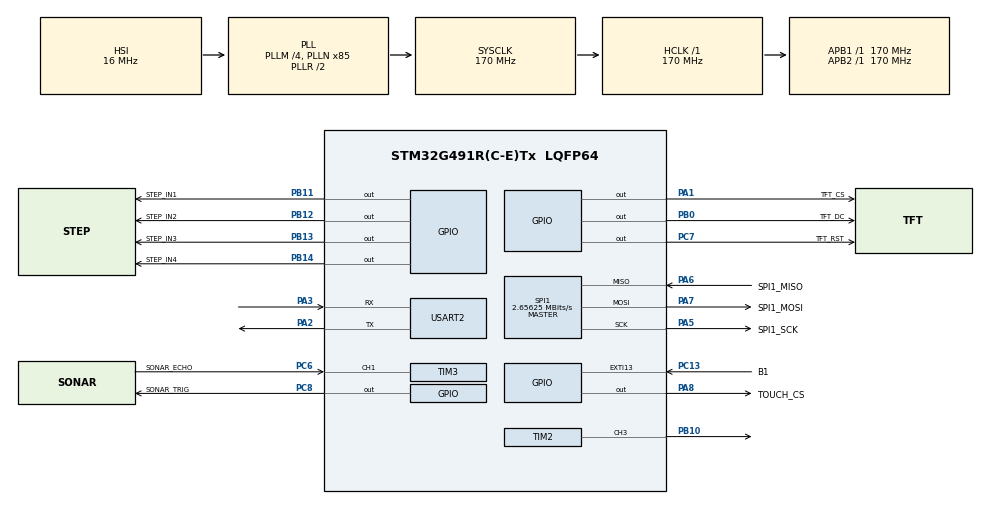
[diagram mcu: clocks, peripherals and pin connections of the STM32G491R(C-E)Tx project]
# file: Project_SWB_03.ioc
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Dma.Request0=USART2_RX
Dma.Request1=USART2_TX
Dma.Request2=SPI1_TX
Dma.SPI1_TX.2.Direction=DMA_MEMORY_TO_PERIPH
Dma.SPI1_TX.2.EventEnable=DISABLE
Dma.SPI1_TX.2.Instance=DMA1_Channel3
Dma.SPI1_TX.2.MemDataAlignment=DMA_MDATAALIGN_BYTE
Dma.SPI1_TX.2.MemInc=DMA_MINC_ENABLE
Dma.SPI1_TX.2.Mode=DMA_NORMAL
Dma.SPI1_TX.2.PeriphDataAlignment=DMA_PDATAALIGN_BYTE
Dma.SPI1_TX.2.PeriphInc=DMA_PINC_DISABLE
Dma.SPI1_TX.2.Polarity=HAL_DMAMUX_REQ_GEN_RISING
Dma.SPI1_TX.2.Priority=DMA_PRIORITY_LOW
Dma.SPI1_TX.2.RequestNumber=1
Dma.SPI1_TX.2.SignalID=NONE
Dma.SPI1_TX.2.SyncEnable=DISABLE
Dma.SPI1_TX.2.SyncPolarity=HAL_DMAMUX_SYNC_NO_EVENT
Dma.SPI1_TX.2.SyncRequestNumber=1
Dma.SPI1_TX.2.SyncSignalID=NONE
Dma.USART2_RX.0.Direction=DMA_PERIPH_TO_MEMORY
Dma.USART2_RX.0.EventEnable=DISABLE
Dma.USART2_RX.0.Instance=DMA1_Channel1
Dma.USART2_RX.0.MemDataAlignment=DMA_MDATAALIGN_BYTE
Dma.USART2_RX.0.MemInc=DMA_MINC_ENABLE
Dma.USART2_RX.0.Mode=DMA_CIRCULAR
Dma.USART2_RX.0.PeriphDataAlignment=DMA_PDATAALIGN_BYTE
Dma.USART2_RX.0.PeriphInc=DMA_PINC_DISABLE
Dma.USART2_RX.0.Polarity=HAL_DMAMUX_REQ_GEN_RISING
Dma.USART2_RX.0.Priority=DMA_PRIORITY_LOW
Dma.USART2_RX.0.RequestNumber=1
Dma.USART2_RX.0.SignalID=NONE
Dma.USART2_RX.0.SyncEnable=DISABLE
Dma.USART2_RX.0.SyncPolarity=HAL_DMAMUX_SYNC_NO_EVENT
Dma.USART2_RX.0.SyncRequestNumber=1
Dma.USART2_RX.0.SyncSignalID=NONE
Dma.USART2_TX.1.Direction=DMA_MEMORY_TO_PERIPH
Dma.USART2_TX.1.EventEnable=DISABLE
Dma.USART2_TX.1.Instance=DMA1_Channel2
Dma.USART2_TX.1.MemDataAlignment=DMA_MDATAALIGN_BYTE
Dma.USART2_TX.1.MemInc=DMA_MINC_ENABLE
Dma.USART2_TX.1.Mode=DMA_NORMAL
Dma.USART2_TX.1.PeriphDataAlignment=DMA_PDATAALIGN_BYTE
Dma.USART2_TX.1.PeriphInc=DMA_PINC_DISABLE
Dma.USART2_TX.1.Polarity=HAL_DMAMUX_REQ_GEN_RISING
Dma.USART2_TX.1.Priority=DMA_PRIORITY_LOW
Dma.USART2_TX.1.RequestNumber=1
Dma.USART2_TX.1.SignalID=NONE
Dma.USART2_TX.1.SyncEnable=DISABLE
Dma.USART2_TX.1.SyncPolarity=HAL_DMAMUX_SYNC_NO_EVENT
Dma.USART2_TX.1.SyncRequestNumber=1
Dma.USART2_TX.1.SyncSignalID=NONE
Mcu.Family=STM32G4
Mcu.Name=STM32G491R(C-E)Tx
Mcu.Package=LQFP64
NVIC.DMA1_Channel1_IRQn=true\:0\:0\:false\:false\:true\:false\:true\:true
NVIC.DMA1_Channel2_IRQn=true\:0\:0\:false\:false\:true\:false\:true\:true
NVIC.DMA1_Channel3_IRQn=true\:0\:0\:false\:false\:true\:false\:true\:true
NVIC.EXTI15_10_IRQn=true\:0\:0\:false\:false\:true\:true\:true\:true
NVIC.PriorityGroup=NVIC_PRIORITYGROUP_4
NVIC.TIM3_IRQn=true\:1\:0\:true\:false\:true\:true\:true\:true
NVIC.TIM7_IRQn=true\:0\:0\:true\:false\:true\:true\:true\:true
NVIC.USART2_IRQn=true\:0\:0\:false\:false\:true\:true\:true\:true
PA1.GPIO_Label=TFT_CS
PA1.PinState=GPIO_PIN_SET
PA1.Signal=GPIO_Output
PA13.GPIO_Label=T_SWDIO
PA13.Signal=SYS_JTMS-SWDIO
PA14.GPIO_Label=T_SWCLK
PA14.Signal=SYS_JTCK-SWCLK
PA2.Mode=Asynchronous
PA2.Signal=USART2_TX
PA3.Mode=Asynchronous
PA3.Signal=USART2_RX
PA5.GPIO_Label=SPI1_SCK
PA5.GPIO_Speed=GPIO_SPEED_FREQ_MEDIUM
PA5.Mode=Full_Duplex_Master
PA5.Signal=SPI1_SCK
PA6.GPIO_Label=SPI1_MISO
PA6.GPIO_Speed=GPIO_SPEED_FREQ_MEDIUM
PA6.Mode=Full_Duplex_Master
PA6.Signal=SPI1_MISO
PA7.GPIO_Label=SPI1_MOSI
PA7.GPIO_Speed=GPIO_SPEED_FREQ_MEDIUM
PA7.Mode=Full_Duplex_Master
PA7.Signal=SPI1_MOSI
PA8.GPIO_Label=TOUCH_CS
PA8.PinState=GPIO_PIN_SET
PA8.Signal=GPIO_Output
PB0.GPIO_Label=TFT_DC
PB0.Signal=GPIO_Output
PB10.Signal=S_TIM2_CH3
PB11.GPIO_Label=STEP_IN1
PB11.Signal=GPIO_Output
PB12.GPIO_Label=STEP_IN2
PB12.Signal=GPIO_Output
PB13.GPIO_Label=STEP_IN3
PB13.Signal=GPIO_Output
PB14.GPIO_Label=STEP_IN4
PB14.Signal=GPIO_Output
PB3.GPIO_Label=T_SWO
PB3.Signal=SYS_JTDO-SWO
PC13.GPIO_Label=B1
PC13.GPIO_PuPd=GPIO_PULLDOWN
PC13.Signal=GPXTI13
PC14-OSC32_IN.GPIO_Label=RCC_OSC32_IN
PC14-OSC32_IN.Signal=RCC_OSC32_IN
PC15-OSC32_OUT.GPIO_Label=RCC_OSC32_OUT
PC15-OSC32_OUT.Signal=RCC_OSC32_OUT
PC6.GPIO_Label=SONAR_ECHO
PC6.Signal=S_TIM3_CH1
PC7.GPIO_Label=TFT_RST
PC7.Signal=GPIO_Output
PC8.GPIO_Label=SONAR_TRIG
PC8.Signal=GPIO_Output
PF0-OSC_IN.GPIO_Label=RCC_OSC_IN
PF0-OSC_IN.Signal=RCC_OSC_IN
PF1-OSC_OUT.GPIO_Label=RCC_OSC_OUT
PF1-OSC_OUT.Signal=RCC_OSC_OUT
ProjectManager.HeapSize=0x200
ProjectManager.StackSize=0x400
ProjectManager.TargetToolchain=STM32CubeIDE
RCC.ADC12Freq_Value=170000000
RCC.ADC345Freq_Value=170000000
RCC.AHBFreq_Value=170000000
RCC.APB1Freq_Value=170000000
RCC.APB1TimFreq_Value=170000000
RCC.APB2Freq_Value=170000000
RCC.APB2TimFreq_Value=170000000
RCC.CortexFreq_Value=170000000
RCC.EXTERNAL_CLOCK_VALUE=12288000
RCC.HCLKFreq_Value=170000000
RCC.HSE_VALUE=24000000
RCC.HSI48_VALUE=48000000
RCC.HSI_VALUE=16000000
RCC.LSE_VALUE=32768
RCC.PLLM=RCC_PLLM_DIV4
RCC.PLLN=85
RCC.RTCClockSelection=RCC_RTCCLKSOURCE_LSE
RCC.SYSCLKFreq_VALUE=170000000
RCC.SYSCLKSource=RCC_SYSCLKSOURCE_PLLCLK
RCC.USBFreq_Value=48000000
RCC.VCOOutputFreq_Value=340000000
SH.S_TIM2_CH3.0=TIM2_CH3,PWM Generation3 CH3
SH.S_TIM3_CH1.0=TIM3_CH1,Input_Capture1_from_TI1
SPI1.BaudRatePrescaler=SPI_BAUDRATEPRESCALER_64
SPI1.CalculateBaudRate=2.65625 MBits/s
SPI1.DataSize=SPI_DATASIZE_8BIT
SPI1.Direction=SPI_DIRECTION_2LINES
SPI1.Mode=SPI_MODE_MASTER
SPI1.NSSPMode=SPI_NSS_PULSE_DISABLE
SPI1.VirtualType=VM_MASTER
TIM2.Channel-PWM\ Generation3\ CH3=TIM_CHANNEL_3
TIM2.PeriodNoDither=19999
TIM2.Prescaler=169
TIM2.PulseNoDither_3=1500
TIM3.Channel-Input_Capture1_from_TI1=TIM_CHANNEL_1
TIM3.ICPolarity_CH1=TIM_INPUTCHANNELPOLARITY_BOTHEDGE
TIM3.PeriodNoDither=65535
TIM3.Prescaler=169
TIM7.PeriodNoDither=9
TIM7.Prescaler=16999
USART2.VirtualMode-Asynchronous=VM_ASYNC
VP_SYS_VS_DBSignals.Mode=DisableDeadBatterySignals
VP_TIM2_VS_ClockSourceINT.Mode=Internal
VP_TIM3_VS_ClockSourceINT.Mode=Internal
VP_TIM7_VS_ClockSourceINT.Mode=Enable_Timer
board=NUCLEO-G491RE

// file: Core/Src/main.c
/* USER CODE BEGIN Header */
/**
  ******************************************************************************
  * @file           : main.c
  * @brief          : Main program body
  ******************************************************************************
  * @attention
  *
  * Copyright (c) 2026 STMicroelectronics.
  * All rights reserved.
  *
  * This software is licensed under terms that can be found in the LICENSE file
  * in the root directory of this software component.
  * If no LICENSE file comes with this software, it is provided AS-IS.
  *
  ******************************************************************************
  */
/* USER CODE END Header */
#include "main.h"
#include "dma.h"
#include "spi.h"
#include "tim.h"
#include "usart.h"
#include "gpio.h"

/* USER CODE BEGIN Includes */
#include "hcsr04.h"
#include "servo.h"
#include "tft_ili9341.h"
#include "touch_xpt2046.h"
#include "scanner.h"
#include "gui.h"
#include <stdio.h>
#include <string.h>
/* USER CODE END Includes */

/* USER CODE BEGIN PD */
#define TX_MSG_MAX_LEN 120
#define TX_QUEUE_SIZE 16
/* USER CODE END PD */

/* USER CODE BEGIN PV */
volatile uint32_t appTickMs = 0;

static int txBusy = 0;
static char txCurBuf[TX_MSG_MAX_LEN];
static char txQueue[TX_QUEUE_SIZE][TX_MSG_MAX_LEN];
static int txQHead = 0;
static int txQTail = 0;
static int txQCount = 0;
/* USER CODE END PV */

void SystemClock_Config(void);
/* USER CODE BEGIN PFP */
void UART_SendText(const char *text);
void UART_StartNextTx(void);
/* USER CODE END PFP */

/* USER CODE BEGIN 0 */
void HAL_TIM_PeriodElapsedCallback(TIM_HandleTypeDef *htim) {
    if (htim->Instance == TIM7) appTickMs++;
}

void HAL_TIM_IC_CaptureCallback(TIM_HandleTypeDef *htim) {
    HCSR04_IC_Callback(htim);
}

void HAL_GPIO_EXTI_Callback(uint16_t GPIO_Pin) {
    (void)GPIO_Pin;
}

void HAL_UART_TxCpltCallback(UART_HandleTypeDef *huart) {
    if (huart->Instance == USART2) {
        txBusy = 0;
        UART_StartNextTx();
    }
}

void UART_StartNextTx(void) {
    if (txBusy || txQCount == 0) return;
    strncpy(txCurBuf, txQueue[txQTail], TX_MSG_MAX_LEN - 1);
    txCurBuf[TX_MSG_MAX_LEN - 1] = 0;
    if (++txQTail >= TX_QUEUE_SIZE) txQTail = 0;
    txQCount--;
    txBusy = 1;
    if (HAL_UART_Transmit_DMA(&huart2, (uint8_t *)txCurBuf, (uint16_t)strlen(txCurBuf)) != HAL_OK)
        txBusy = 0;
}

void UART_SendText(const char *text) {
    if (!text || txQCount >= TX_QUEUE_SIZE) return;
    strncpy(txQueue[txQHead], text, TX_MSG_MAX_LEN - 1);
    txQueue[txQHead][TX_MSG_MAX_LEN - 1] = 0;
    if (++txQHead >= TX_QUEUE_SIZE) txQHead = 0;
    txQCount++;
    UART_StartNextTx();
}
/* USER CODE END 0 */

int main(void)
{

  /* MCU Configuration--------------------------------------------------------*/

  /* Reset of all peripherals, Initializes the Flash interface and the Systick. */
  HAL_Init();

  /* Configure the system clock */
  SystemClock_Config();

  /* Initialize all configured peripherals */
  MX_GPIO_Init();
  MX_DMA_Init();
  MX_USART2_UART_Init();
  MX_TIM7_Init();
  MX_TIM2_Init();
  MX_SPI1_Init();
  MX_TIM3_Init();
  /* USER CODE BEGIN 2 */
  HAL_TIM_Base_Start_IT(&htim7);
  UART_SendText("TIM7 ok\r\n");

  Servo_Init();
  UART_SendText("Servo ok (center 90 deg)\r\n");

  HCSR04_Init();
  UART_SendText("HCSR04 ok\r\n");

  UART_SendText("TFT init...\r\n");
  TFT_Init();
  UART_SendText("TFT ok\r\n");

  Touch_Init();
  UART_SendText("Touch ok\r\n");

  Scanner_Init();
  UART_SendText("Scanner ok\r\n");

  GUI_Init();
  UART_SendText("GUI ok - showing config screen\r\n");

  UART_SendText("Sonar ready\r\n");
  /* USER CODE END 2 */

  /* Infinite loop */
  /* USER CODE BEGIN WHILE */
  while (1)
  {
    Scanner_Task();
    GUI_Task();
    /* USER CODE END WHILE */

  }
}

void SystemClock_Config(void)
{
  RCC_OscInitTypeDef RCC_OscInitStruct = {0};
  RCC_ClkInitTypeDef RCC_ClkInitStruct = {0};

  /** Configure the main internal regulator output voltage
  */
  HAL_PWREx_ControlVoltageScaling(PWR_REGULATOR_VOLTAGE_SCALE1_BOOST);

  /** Initializes the RCC Oscillators according to the specified parameters
  * in the RCC_OscInitTypeDef structure.
  */
  RCC_OscInitStruct.OscillatorType = RCC_OSCILLATORTYPE_HSI;
  RCC_OscInitStruct.HSIState = RCC_HSI_ON;
  RCC_OscInitStruct.HSICalibrationValue = RCC_HSICALIBRATION_DEFAULT;
  RCC_OscInitStruct.PLL.PLLState = RCC_PLL_ON;
  RCC_OscInitStruct.PLL.PLLSource = RCC_PLLSOURCE_HSI;
  RCC_OscInitStruct.PLL.PLLM = RCC_PLLM_DIV4;
  RCC_OscInitStruct.PLL.PLLN = 85;
  RCC_OscInitStruct.PLL.PLLP = RCC_PLLP_DIV2;
  RCC_OscInitStruct.PLL.PLLQ = RCC_PLLQ_DIV2;
  RCC_OscInitStruct.PLL.PLLR = RCC_PLLR_DIV2;
  if (HAL_RCC_OscConfig(&RCC_OscInitStruct) != HAL_OK)
  {
    Error_Handler();
  }

  /** Initializes the CPU, AHB and APB buses clocks
  */
  RCC_ClkInitStruct.ClockType = RCC_CLOCKTYPE_HCLK|RCC_CLOCKTYPE_SYSCLK
                              |RCC_CLOCKTYPE_PCLK1|RCC_CLOCKTYPE_PCLK2;
  RCC_ClkInitStruct.SYSCLKSource = RCC_SYSCLKSOURCE_PLLCLK;
  RCC_ClkInitStruct.AHBCLKDivider = RCC_SYSCLK_DIV1;
  RCC_ClkInitStruct.APB1CLKDivider = RCC_HCLK_DIV1;
  RCC_ClkInitStruct.APB2CLKDivider = RCC_HCLK_DIV1;

  if (HAL_RCC_ClockConfig(&RCC_ClkInitStruct, FLASH_LATENCY_4) != HAL_OK)
  {
    Error_Handler();
  }
}

void Error_Handler(void)
{
  __disable_irq();
  while (1) {}
}
